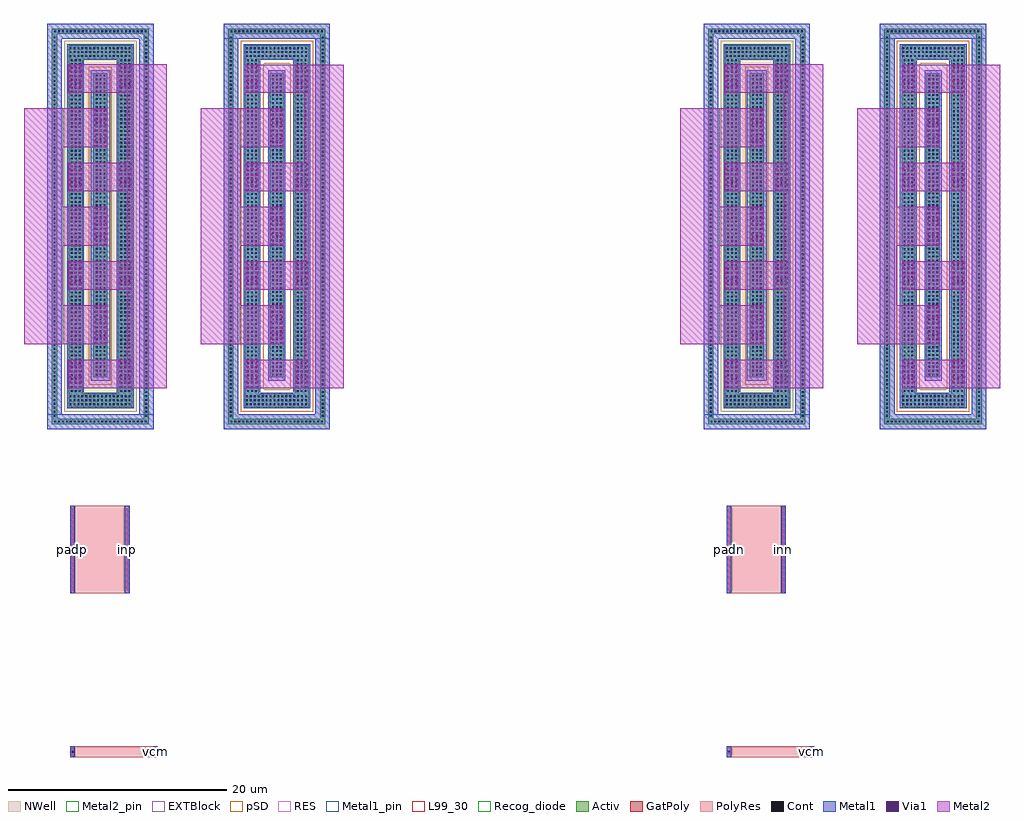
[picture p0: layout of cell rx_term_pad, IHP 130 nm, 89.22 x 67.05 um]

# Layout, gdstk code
import gdstk
lib = gdstk.Library(unit=1e-6, precision=1e-09)
def R(c, l, rs):  # rectangles x0, y0, x1, y1
    for r in rs: c.add(gdstk.rectangle(r[:2], r[2:], *l))
def A(c, l, x, y, w, h, nx, ny, dx, dy):  # array of equal rectangles
    R(c, l, [(x+i*dx, y+j*dy, x+i*dx+w, y+j*dy+h) for i in range(nx) for j in range(ny)])
def P(c, l, *ps):  # polygons
    for p in ps: c.add(gdstk.Polygon(p, *l))
Activ = (1, 0)
GatPoly = (5, 0)
Cont = (6, 0)
Metal1 = (8, 0)
Metal1_pin = (8, 2)
Metal2 = (10, 0)
Metal2_pin = (10, 2)
pSD = (14, 0)
Via1 = (19, 0)
RES = (24, 0)
NWell = (31, 0)
L99_30 = (99, 30)
Recog_diode = (99, 31)
EXTBlock = (111, 0)
PolyRes = (128, 0)

rx_term_pad_rtp__core = lib.new_cell('rx_term_pad_Rtp__core')
R(rx_term_pad_rtp__core, GatPoly, [(0,0,0.42,1), (7.563,0,7.983,1)])
R(rx_term_pad_rtp__core, Cont, [(0.13,0.42,0.29,0.58), (7.693,0.42,7.853,0.58)])
R(rx_term_pad_rtp__core, Metal1, [(0,0,0.42,1), (7.563,0,7.983,1)])
R(rx_term_pad_rtp__core, RES, [(0.42,0,7.563,1)])
R(rx_term_pad_rtp__core, EXTBlock, [(0.42,0,7.563,1)])
R(rx_term_pad_rtp__core, PolyRes, [(0.42,0,7.563,1)])

rtp__rx_term_pad_rtp = lib.new_cell('Rtp__rx_term_pad_Rtp')
rtp__rx_term_pad_rtp.add(gdstk.Reference(rx_term_pad_rtp__core, (0,0)))

rx_term_pad_rsp__core = lib.new_cell('rx_term_pad_Rsp__core')
R(rx_term_pad_rsp__core, GatPoly, [(0,0,0.42,8), (4.991,0,5.411,8)])
R(rx_term_pad_rsp__core, Cont, [(0.13,3.92,0.29,4.08), (5.121,3.92,5.281,4.08)])
R(rx_term_pad_rsp__core, Metal1, [(0,0,0.42,8), (4.991,0,5.411,8)])
R(rx_term_pad_rsp__core, RES, [(0.42,0,4.991,8)])
R(rx_term_pad_rsp__core, EXTBlock, [(0.42,0,4.991,8)])
R(rx_term_pad_rsp__core, PolyRes, [(0.42,0,4.991,8)])

rsp__rx_term_pad_rsp = lib.new_cell('Rsp__rx_term_pad_Rsp')
rsp__rx_term_pad_rsp.add(gdstk.Reference(rx_term_pad_rsp__core, (0,0)))

dup__diodevdd_2kv = lib.new_cell('Dup__diodevdd_2kv')
R(dup__diodevdd_2kv, Activ, [(4.23,4.73,5.49,32.51)])
P(dup__diodevdd_2kv, Activ, [(1.98,1.98),(1.98,3.24),(6.51,3.24),(6.51,33.81),(3.24,33.81),(3.24,3.24),(1.98,3.24),(1.98,35.07),(7.77,35.07),(7.77,1.98)],
  [(0.42,0.45),(0.42,0.93),(8.82,0.93),(8.82,36.12),(0.9,36.12),(0.9,0.93),(0.42,0.93),(0.42,36.6),(9.3,36.6),(9.3,0.45)])
A(dup__diodevdd_2kv, Cont, 0.64, 0.61, 0.16, 0.16, 24, 2, 0.36, 35.67)
A(dup__diodevdd_2kv, Cont, 0.58, 1.145, 0.16, 0.16, 1, 97, 0, 0.36)
A(dup__diodevdd_2kv, Cont, 8.98, 1.145, 0.16, 0.16, 1, 97, 0, 0.36)
A(dup__diodevdd_2kv, Cont, 2.055, 2.19, 0.16, 0.16, 16, 3, 0.36, 0.36)
A(dup__diodevdd_2kv, Cont, 2.165, 3.405, 0.16, 0.16, 3, 85, 0.36, 0.36)
A(dup__diodevdd_2kv, Cont, 6.695, 3.405, 0.16, 0.16, 3, 85, 0.36, 0.36)
A(dup__diodevdd_2kv, Cont, 4.44, 4.89, 0.16, 0.16, 3, 77, 0.36, 0.36)
A(dup__diodevdd_2kv, Cont, 2.055, 34.02, 0.16, 0.16, 16, 3, 0.36, 0.36)
R(dup__diodevdd_2kv, Metal1, [(3.96,4.43,5.76,32.78)])
P(dup__diodevdd_2kv, Metal1, [(1.83,1.89),(1.83,3.3),(6.36,3.3),(6.36,33.75),(3.36,33.75),(3.36,3.3),(1.83,3.3),(1.83,35.16),(7.92,35.16),(7.92,1.89)],
  [(0,0),(0,1.35),(8.4,1.35),(8.4,35.7),(1.35,35.7),(1.35,1.35),(0,1.35),(0,37.05),(9.72,37.05),(9.72,0)])
R(dup__diodevdd_2kv, Metal1_pin, [(0,0,9.72,1.35)])
P(dup__diodevdd_2kv, Metal2, [(1.94,3.735),(1.94,6.335),(7.34,6.335),(7.34,12.735),(1.94,12.735),(1.94,15.335),(7.34,15.335),(7.34,21.735),(1.94,21.735),(1.94,24.335),(7.34,24.335),(7.34,30.735),(1.94,30.735),(1.94,33.335),(10.94,33.335),(10.94,3.735)],
  [(-2.12,7.755),(-2.12,29.315),(5.505,29.315),(5.505,25.755),(1.48,25.755),(1.48,20.315),(5.505,20.315),(5.505,16.755),(1.48,16.755),(1.48,11.315),(5.505,11.315),(5.505,7.755)])
R(dup__diodevdd_2kv, Metal2_pin, [(7.34,3.735,10.94,33.335), (-2.12,7.755,1.48,29.315)])
R(dup__diodevdd_2kv, pSD, [(3.81,4.07,5.91,33.14)])
P(dup__diodevdd_2kv, pSD, [(0,0),(0,1.35),(8.4,1.35),(8.4,35.7),(1.35,35.7),(1.35,1.35),(0,1.35),(0,37.05),(9.72,37.05),(9.72,0)])
A(dup__diodevdd_2kv, Via1, 1.99, 3.74, 0.19, 0.19, 3, 6, 0.48, 0.48)
A(dup__diodevdd_2kv, Via1, 6.55, 3.74, 0.19, 0.19, 3, 6, 0.48, 0.48)
A(dup__diodevdd_2kv, Via1, 4.305, 7.76, 0.19, 0.19, 3, 8, 0.48, 0.48)
A(dup__diodevdd_2kv, Via1, 1.99, 12.74, 0.19, 0.19, 3, 6, 0.48, 0.48)
A(dup__diodevdd_2kv, Via1, 6.55, 12.74, 0.19, 0.19, 3, 6, 0.48, 0.48)
A(dup__diodevdd_2kv, Via1, 4.305, 16.76, 0.19, 0.19, 3, 8, 0.48, 0.48)
A(dup__diodevdd_2kv, Via1, 1.99, 21.74, 0.19, 0.19, 3, 6, 0.48, 0.48)
A(dup__diodevdd_2kv, Via1, 6.55, 21.74, 0.19, 0.19, 3, 6, 0.48, 0.48)
A(dup__diodevdd_2kv, Via1, 4.305, 25.76, 0.19, 0.19, 3, 8, 0.48, 0.48)
A(dup__diodevdd_2kv, Via1, 1.99, 30.74, 0.19, 0.19, 3, 6, 0.48, 0.48)
A(dup__diodevdd_2kv, Via1, 6.55, 30.74, 0.19, 0.19, 3, 6, 0.48, 0.48)
R(dup__diodevdd_2kv, NWell, [(1.56,1.56,8.19,35.49)])
R(dup__diodevdd_2kv, L99_30, [(0,0,9.72,37.05)])
dup__diodevdd_2kv.add(gdstk.Label('VDD', (9.15,18.99), layer=63, texttype=0))
dup__diodevdd_2kv.add(gdstk.Label('PAD', (-0.32,18.535), layer=63, texttype=0))
dup__diodevdd_2kv.add(gdstk.Label('VSS', (4.86,0.675), layer=63, texttype=0))
dup__diodevdd_2kv.add(gdstk.Label('sub!', (8.33,0.625), layer=63, texttype=0))
dup__diodevdd_2kv.add(gdstk.Label('diodevdd_2kv', (6.3,18.43), layer=63, texttype=0))

ddp__diodevss_2kv = lib.new_cell('Ddp__diodevss_2kv')
R(ddp__diodevss_2kv, Activ, [(4.23,4.73,5.49,32.51)])
P(ddp__diodevss_2kv, Activ, [(1.98,1.98),(1.98,3.24),(6.51,3.24),(6.51,33.81),(3.24,33.81),(3.24,3.24),(1.98,3.24),(1.98,35.07),(7.77,35.07),(7.77,1.98)],
  [(0.42,0.45),(0.42,0.93),(8.82,0.93),(8.82,36.12),(0.9,36.12),(0.9,0.93),(0.42,0.93),(0.42,36.6),(9.3,36.6),(9.3,0.45)])
A(ddp__diodevss_2kv, Cont, 0.64, 0.61, 0.16, 0.16, 24, 2, 0.36, 35.67)
A(ddp__diodevss_2kv, Cont, 0.58, 1.145, 0.16, 0.16, 1, 97, 0, 0.36)
A(ddp__diodevss_2kv, Cont, 8.98, 1.145, 0.16, 0.16, 1, 97, 0, 0.36)
A(ddp__diodevss_2kv, Cont, 2.055, 2.19, 0.16, 0.16, 16, 3, 0.36, 0.36)
A(ddp__diodevss_2kv, Cont, 2.165, 3.405, 0.16, 0.16, 3, 85, 0.36, 0.36)
A(ddp__diodevss_2kv, Cont, 6.695, 3.405, 0.16, 0.16, 3, 85, 0.36, 0.36)
A(ddp__diodevss_2kv, Cont, 4.44, 4.89, 0.16, 0.16, 3, 77, 0.36, 0.36)
A(ddp__diodevss_2kv, Cont, 2.055, 34.02, 0.16, 0.16, 16, 3, 0.36, 0.36)
R(ddp__diodevss_2kv, Metal1, [(4.11,4.43,5.64,32.78)])
P(ddp__diodevss_2kv, Metal1, [(1.83,1.89),(1.83,3.3),(6.36,3.3),(6.36,33.75),(3.36,33.75),(3.36,3.3),(1.83,3.3),(1.83,35.16),(7.92,35.16),(7.92,1.89)],
  [(0,0),(0,1.35),(8.4,1.35),(8.4,35.7),(1.35,35.7),(1.35,1.35),(0,1.35),(0,37.05),(9.72,37.05),(9.72,0)])
R(ddp__diodevss_2kv, Metal1_pin, [(0,35.7,9.72,37.05)])
P(ddp__diodevss_2kv, Metal2, [(1.98,3.725),(1.98,6.325),(7.38,6.325),(7.38,12.725),(1.98,12.725),(1.98,15.325),(7.38,15.325),(7.38,21.725),(1.98,21.725),(1.98,24.325),(7.38,24.325),(7.38,30.725),(1.98,30.725),(1.98,33.325),(10.98,33.325),(10.98,3.725)],
  [(4.235,7.74),(4.235,7.745),(-2.08,7.745),(-2.08,29.305),(5.3,29.305),(5.3,29.3),(5.485,29.3),(5.485,25.74),(4.235,25.74),(4.235,25.745),(1.52,25.745),(1.52,20.305),(5.3,20.305),(5.3,20.3),(5.485,20.3),(5.485,16.74),(4.235,16.74),(4.235,16.745),(1.52,16.745),(1.52,11.305),(5.3,11.305),(5.3,11.3),(5.485,11.3),(5.485,7.74)])
R(ddp__diodevss_2kv, Metal2_pin, [(7.38,3.725,10.98,33.325), (-2.08,7.745,1.52,29.305)])
P(ddp__diodevss_2kv, pSD, [(1.56,1.56),(1.56,3.66),(6.09,3.66),(6.09,33.39),(3.66,33.39),(3.66,3.66),(1.56,3.66),(1.56,35.49),(8.19,35.49),(8.19,1.56)])
A(ddp__diodevss_2kv, Via1, 2.03, 3.73, 0.19, 0.19, 3, 6, 0.48, 0.48)
A(ddp__diodevss_2kv, Via1, 6.59, 3.73, 0.19, 0.19, 3, 6, 0.48, 0.48)
A(ddp__diodevss_2kv, Via1, 4.285, 7.745, 0.19, 0.19, 3, 8, 0.48, 0.48)
A(ddp__diodevss_2kv, Via1, 2.03, 12.73, 0.19, 0.19, 3, 6, 0.48, 0.48)
A(ddp__diodevss_2kv, Via1, 6.59, 12.73, 0.19, 0.19, 3, 6, 0.48, 0.48)
A(ddp__diodevss_2kv, Via1, 4.285, 16.745, 0.19, 0.19, 3, 8, 0.48, 0.48)
A(ddp__diodevss_2kv, Via1, 2.03, 21.73, 0.19, 0.19, 3, 6, 0.48, 0.48)
A(ddp__diodevss_2kv, Via1, 6.59, 21.73, 0.19, 0.19, 3, 6, 0.48, 0.48)
A(ddp__diodevss_2kv, Via1, 4.285, 25.745, 0.19, 0.19, 3, 8, 0.48, 0.48)
A(ddp__diodevss_2kv, Via1, 2.03, 30.73, 0.19, 0.19, 3, 6, 0.48, 0.48)
A(ddp__diodevss_2kv, Via1, 6.59, 30.73, 0.19, 0.19, 3, 6, 0.48, 0.48)
P(ddp__diodevss_2kv, NWell, [(0,0),(0,1.35),(8.4,1.35),(8.4,35.7),(1.35,35.7),(1.35,1.35),(0,1.35),(0,37.05),(9.72,37.05),(9.72,0)])
R(ddp__diodevss_2kv, L99_30, [(0,0,9.72,37.05)])
ddp__diodevss_2kv.add(gdstk.Label('PAD', (-0.28,18.525), layer=63, texttype=0))
ddp__diodevss_2kv.add(gdstk.Label('VSS', (9.18,18.525), layer=63, texttype=0))
ddp__diodevss_2kv.add(gdstk.Label('VDD', (4.86,36.375), layer=63, texttype=0))
ddp__diodevss_2kv.add(gdstk.Label('sub!', (3.285,2.385), layer=63, texttype=0))
ddp__diodevss_2kv.add(gdstk.Label('diodevss_2kv', (6.3,18.43), layer=63, texttype=0))

rx_term_pad_rtn__core = lib.new_cell('rx_term_pad_Rtn__core')
R(rx_term_pad_rtn__core, GatPoly, [(0,0,0.42,1), (7.563,0,7.983,1)])
R(rx_term_pad_rtn__core, Cont, [(0.13,0.42,0.29,0.58), (7.693,0.42,7.853,0.58)])
R(rx_term_pad_rtn__core, Metal1, [(0,0,0.42,1), (7.563,0,7.983,1)])
R(rx_term_pad_rtn__core, RES, [(0.42,0,7.563,1)])
R(rx_term_pad_rtn__core, EXTBlock, [(0.42,0,7.563,1)])
R(rx_term_pad_rtn__core, PolyRes, [(0.42,0,7.563,1)])

rtn__rx_term_pad_rtn = lib.new_cell('Rtn__rx_term_pad_Rtn')
rtn__rx_term_pad_rtn.add(gdstk.Reference(rx_term_pad_rtn__core, (0,0)))

rx_term_pad_rsn__core = lib.new_cell('rx_term_pad_Rsn__core')
R(rx_term_pad_rsn__core, GatPoly, [(0,0,0.42,8), (4.991,0,5.411,8)])
R(rx_term_pad_rsn__core, Cont, [(0.13,3.92,0.29,4.08), (5.121,3.92,5.281,4.08)])
R(rx_term_pad_rsn__core, Metal1, [(0,0,0.42,8), (4.991,0,5.411,8)])
R(rx_term_pad_rsn__core, RES, [(0.42,0,4.991,8)])
R(rx_term_pad_rsn__core, EXTBlock, [(0.42,0,4.991,8)])
R(rx_term_pad_rsn__core, PolyRes, [(0.42,0,4.991,8)])

rsn__rx_term_pad_rsn = lib.new_cell('Rsn__rx_term_pad_Rsn')
rsn__rx_term_pad_rsn.add(gdstk.Reference(rx_term_pad_rsn__core, (0,0)))

dun__diodevdd_2kv = lib.new_cell('Dun__diodevdd_2kv')
R(dun__diodevdd_2kv, Activ, [(4.23,4.73,5.49,32.51)])
P(dun__diodevdd_2kv, Activ, [(1.98,1.98),(1.98,3.24),(6.51,3.24),(6.51,33.81),(3.24,33.81),(3.24,3.24),(1.98,3.24),(1.98,35.07),(7.77,35.07),(7.77,1.98)],
  [(0.42,0.45),(0.42,0.93),(8.82,0.93),(8.82,36.12),(0.9,36.12),(0.9,0.93),(0.42,0.93),(0.42,36.6),(9.3,36.6),(9.3,0.45)])
A(dun__diodevdd_2kv, Cont, 0.64, 0.61, 0.16, 0.16, 24, 2, 0.36, 35.67)
A(dun__diodevdd_2kv, Cont, 0.58, 1.145, 0.16, 0.16, 1, 97, 0, 0.36)
A(dun__diodevdd_2kv, Cont, 8.98, 1.145, 0.16, 0.16, 1, 97, 0, 0.36)
A(dun__diodevdd_2kv, Cont, 2.055, 2.19, 0.16, 0.16, 16, 3, 0.36, 0.36)
A(dun__diodevdd_2kv, Cont, 2.165, 3.405, 0.16, 0.16, 3, 85, 0.36, 0.36)
A(dun__diodevdd_2kv, Cont, 6.695, 3.405, 0.16, 0.16, 3, 85, 0.36, 0.36)
A(dun__diodevdd_2kv, Cont, 4.44, 4.89, 0.16, 0.16, 3, 77, 0.36, 0.36)
A(dun__diodevdd_2kv, Cont, 2.055, 34.02, 0.16, 0.16, 16, 3, 0.36, 0.36)
R(dun__diodevdd_2kv, Metal1, [(3.96,4.43,5.76,32.78)])
P(dun__diodevdd_2kv, Metal1, [(1.83,1.89),(1.83,3.3),(6.36,3.3),(6.36,33.75),(3.36,33.75),(3.36,3.3),(1.83,3.3),(1.83,35.16),(7.92,35.16),(7.92,1.89)],
  [(0,0),(0,1.35),(8.4,1.35),(8.4,35.7),(1.35,35.7),(1.35,1.35),(0,1.35),(0,37.05),(9.72,37.05),(9.72,0)])
R(dun__diodevdd_2kv, Metal1_pin, [(0,0,9.72,1.35)])
P(dun__diodevdd_2kv, Metal2, [(1.94,3.735),(1.94,6.335),(7.34,6.335),(7.34,12.735),(1.94,12.735),(1.94,15.335),(7.34,15.335),(7.34,21.735),(1.94,21.735),(1.94,24.335),(7.34,24.335),(7.34,30.735),(1.94,30.735),(1.94,33.335),(10.94,33.335),(10.94,3.735)],
  [(-2.12,7.755),(-2.12,29.315),(5.505,29.315),(5.505,25.755),(1.48,25.755),(1.48,20.315),(5.505,20.315),(5.505,16.755),(1.48,16.755),(1.48,11.315),(5.505,11.315),(5.505,7.755)])
R(dun__diodevdd_2kv, Metal2_pin, [(7.34,3.735,10.94,33.335), (-2.12,7.755,1.48,29.315)])
R(dun__diodevdd_2kv, pSD, [(3.81,4.07,5.91,33.14)])
P(dun__diodevdd_2kv, pSD, [(0,0),(0,1.35),(8.4,1.35),(8.4,35.7),(1.35,35.7),(1.35,1.35),(0,1.35),(0,37.05),(9.72,37.05),(9.72,0)])
A(dun__diodevdd_2kv, Via1, 1.99, 3.74, 0.19, 0.19, 3, 6, 0.48, 0.48)
A(dun__diodevdd_2kv, Via1, 6.55, 3.74, 0.19, 0.19, 3, 6, 0.48, 0.48)
A(dun__diodevdd_2kv, Via1, 4.305, 7.76, 0.19, 0.19, 3, 8, 0.48, 0.48)
A(dun__diodevdd_2kv, Via1, 1.99, 12.74, 0.19, 0.19, 3, 6, 0.48, 0.48)
A(dun__diodevdd_2kv, Via1, 6.55, 12.74, 0.19, 0.19, 3, 6, 0.48, 0.48)
A(dun__diodevdd_2kv, Via1, 4.305, 16.76, 0.19, 0.19, 3, 8, 0.48, 0.48)
A(dun__diodevdd_2kv, Via1, 1.99, 21.74, 0.19, 0.19, 3, 6, 0.48, 0.48)
A(dun__diodevdd_2kv, Via1, 6.55, 21.74, 0.19, 0.19, 3, 6, 0.48, 0.48)
A(dun__diodevdd_2kv, Via1, 4.305, 25.76, 0.19, 0.19, 3, 8, 0.48, 0.48)
A(dun__diodevdd_2kv, Via1, 1.99, 30.74, 0.19, 0.19, 3, 6, 0.48, 0.48)
A(dun__diodevdd_2kv, Via1, 6.55, 30.74, 0.19, 0.19, 3, 6, 0.48, 0.48)
R(dun__diodevdd_2kv, NWell, [(1.56,1.56,8.19,35.49)])
R(dun__diodevdd_2kv, L99_30, [(0,0,9.72,37.05)])
dun__diodevdd_2kv.add(gdstk.Label('VDD', (9.15,18.99), layer=63, texttype=0))
dun__diodevdd_2kv.add(gdstk.Label('PAD', (-0.32,18.535), layer=63, texttype=0))
dun__diodevdd_2kv.add(gdstk.Label('VSS', (4.86,0.675), layer=63, texttype=0))
dun__diodevdd_2kv.add(gdstk.Label('sub!', (8.33,0.625), layer=63, texttype=0))
dun__diodevdd_2kv.add(gdstk.Label('diodevdd_2kv', (6.3,18.43), layer=63, texttype=0))

ddn__diodevss_2kv = lib.new_cell('Ddn__diodevss_2kv')
R(ddn__diodevss_2kv, Activ, [(4.23,4.73,5.49,32.51)])
P(ddn__diodevss_2kv, Activ, [(1.98,1.98),(1.98,3.24),(6.51,3.24),(6.51,33.81),(3.24,33.81),(3.24,3.24),(1.98,3.24),(1.98,35.07),(7.77,35.07),(7.77,1.98)],
  [(0.42,0.45),(0.42,0.93),(8.82,0.93),(8.82,36.12),(0.9,36.12),(0.9,0.93),(0.42,0.93),(0.42,36.6),(9.3,36.6),(9.3,0.45)])
A(ddn__diodevss_2kv, Cont, 0.64, 0.61, 0.16, 0.16, 24, 2, 0.36, 35.67)
A(ddn__diodevss_2kv, Cont, 0.58, 1.145, 0.16, 0.16, 1, 97, 0, 0.36)
A(ddn__diodevss_2kv, Cont, 8.98, 1.145, 0.16, 0.16, 1, 97, 0, 0.36)
A(ddn__diodevss_2kv, Cont, 2.055, 2.19, 0.16, 0.16, 16, 3, 0.36, 0.36)
A(ddn__diodevss_2kv, Cont, 2.165, 3.405, 0.16, 0.16, 3, 85, 0.36, 0.36)
A(ddn__diodevss_2kv, Cont, 6.695, 3.405, 0.16, 0.16, 3, 85, 0.36, 0.36)
A(ddn__diodevss_2kv, Cont, 4.44, 4.89, 0.16, 0.16, 3, 77, 0.36, 0.36)
A(ddn__diodevss_2kv, Cont, 2.055, 34.02, 0.16, 0.16, 16, 3, 0.36, 0.36)
R(ddn__diodevss_2kv, Metal1, [(4.11,4.43,5.64,32.78)])
P(ddn__diodevss_2kv, Metal1, [(1.83,1.89),(1.83,3.3),(6.36,3.3),(6.36,33.75),(3.36,33.75),(3.36,3.3),(1.83,3.3),(1.83,35.16),(7.92,35.16),(7.92,1.89)],
  [(0,0),(0,1.35),(8.4,1.35),(8.4,35.7),(1.35,35.7),(1.35,1.35),(0,1.35),(0,37.05),(9.72,37.05),(9.72,0)])
R(ddn__diodevss_2kv, Metal1_pin, [(0,35.7,9.72,37.05)])
P(ddn__diodevss_2kv, Metal2, [(1.98,3.725),(1.98,6.325),(7.38,6.325),(7.38,12.725),(1.98,12.725),(1.98,15.325),(7.38,15.325),(7.38,21.725),(1.98,21.725),(1.98,24.325),(7.38,24.325),(7.38,30.725),(1.98,30.725),(1.98,33.325),(10.98,33.325),(10.98,3.725)],
  [(4.235,7.74),(4.235,7.745),(-2.08,7.745),(-2.08,29.305),(5.3,29.305),(5.3,29.3),(5.485,29.3),(5.485,25.74),(4.235,25.74),(4.235,25.745),(1.52,25.745),(1.52,20.305),(5.3,20.305),(5.3,20.3),(5.485,20.3),(5.485,16.74),(4.235,16.74),(4.235,16.745),(1.52,16.745),(1.52,11.305),(5.3,11.305),(5.3,11.3),(5.485,11.3),(5.485,7.74)])
R(ddn__diodevss_2kv, Metal2_pin, [(7.38,3.725,10.98,33.325), (-2.08,7.745,1.52,29.305)])
P(ddn__diodevss_2kv, pSD, [(1.56,1.56),(1.56,3.66),(6.09,3.66),(6.09,33.39),(3.66,33.39),(3.66,3.66),(1.56,3.66),(1.56,35.49),(8.19,35.49),(8.19,1.56)])
A(ddn__diodevss_2kv, Via1, 2.03, 3.73, 0.19, 0.19, 3, 6, 0.48, 0.48)
A(ddn__diodevss_2kv, Via1, 6.59, 3.73, 0.19, 0.19, 3, 6, 0.48, 0.48)
A(ddn__diodevss_2kv, Via1, 4.285, 7.745, 0.19, 0.19, 3, 8, 0.48, 0.48)
A(ddn__diodevss_2kv, Via1, 2.03, 12.73, 0.19, 0.19, 3, 6, 0.48, 0.48)
A(ddn__diodevss_2kv, Via1, 6.59, 12.73, 0.19, 0.19, 3, 6, 0.48, 0.48)
A(ddn__diodevss_2kv, Via1, 4.285, 16.745, 0.19, 0.19, 3, 8, 0.48, 0.48)
A(ddn__diodevss_2kv, Via1, 2.03, 21.73, 0.19, 0.19, 3, 6, 0.48, 0.48)
A(ddn__diodevss_2kv, Via1, 6.59, 21.73, 0.19, 0.19, 3, 6, 0.48, 0.48)
A(ddn__diodevss_2kv, Via1, 4.285, 25.745, 0.19, 0.19, 3, 8, 0.48, 0.48)
A(ddn__diodevss_2kv, Via1, 2.03, 30.73, 0.19, 0.19, 3, 6, 0.48, 0.48)
A(ddn__diodevss_2kv, Via1, 6.59, 30.73, 0.19, 0.19, 3, 6, 0.48, 0.48)
P(ddn__diodevss_2kv, NWell, [(0,0),(0,1.35),(8.4,1.35),(8.4,35.7),(1.35,35.7),(1.35,1.35),(0,1.35),(0,37.05),(9.72,37.05),(9.72,0)])
R(ddn__diodevss_2kv, L99_30, [(0,0,9.72,37.05)])
ddn__diodevss_2kv.add(gdstk.Label('PAD', (-0.28,18.525), layer=63, texttype=0))
ddn__diodevss_2kv.add(gdstk.Label('VSS', (9.18,18.525), layer=63, texttype=0))
ddn__diodevss_2kv.add(gdstk.Label('VDD', (4.86,36.375), layer=63, texttype=0))
ddn__diodevss_2kv.add(gdstk.Label('sub!', (3.285,2.385), layer=63, texttype=0))
ddn__diodevss_2kv.add(gdstk.Label('diodevss_2kv', (6.3,18.43), layer=63, texttype=0))

rx_term_pad = lib.new_cell('rx_term_pad')
R(rx_term_pad, Recog_diode, [(-1.7,30.45,7.18,66.6), (14.42,30.45,23.3,66.6), (58.3,30.45,67.18,66.6), (74.42,30.45,83.3,66.6)])
rx_term_pad.add(gdstk.Reference(rtp__rx_term_pad_rtp, (0,0)))
rx_term_pad.add(gdstk.Reference(rsp__rx_term_pad_rsp, (0,15)))
rx_term_pad.add(gdstk.Reference(dup__diodevdd_2kv, (-2.12,30)))
rx_term_pad.add(gdstk.Reference(ddp__diodevss_2kv, (14,30)))
rx_term_pad.add(gdstk.Reference(rtn__rx_term_pad_rtn, (60,0)))
rx_term_pad.add(gdstk.Reference(rsn__rx_term_pad_rsn, (60,15)))
rx_term_pad.add(gdstk.Reference(dun__diodevdd_2kv, (57.88,30)))
rx_term_pad.add(gdstk.Reference(ddn__diodevss_2kv, (74,30)))
rx_term_pad.add(gdstk.Label('padp', (0.21,19), layer=8, texttype=25))
rx_term_pad.add(gdstk.Label('inp', (5.201,19), layer=8, texttype=25))
rx_term_pad.add(gdstk.Label('vcm', (7.773,0.5), layer=8, texttype=25))
rx_term_pad.add(gdstk.Label('padn', (60.21,19), layer=8, texttype=25))
rx_term_pad.add(gdstk.Label('inn', (65.201,19), layer=8, texttype=25))
rx_term_pad.add(gdstk.Label('vcm', (67.773,0.5), layer=8, texttype=25))

lib.write_gds('rx_term_pad.gds')
